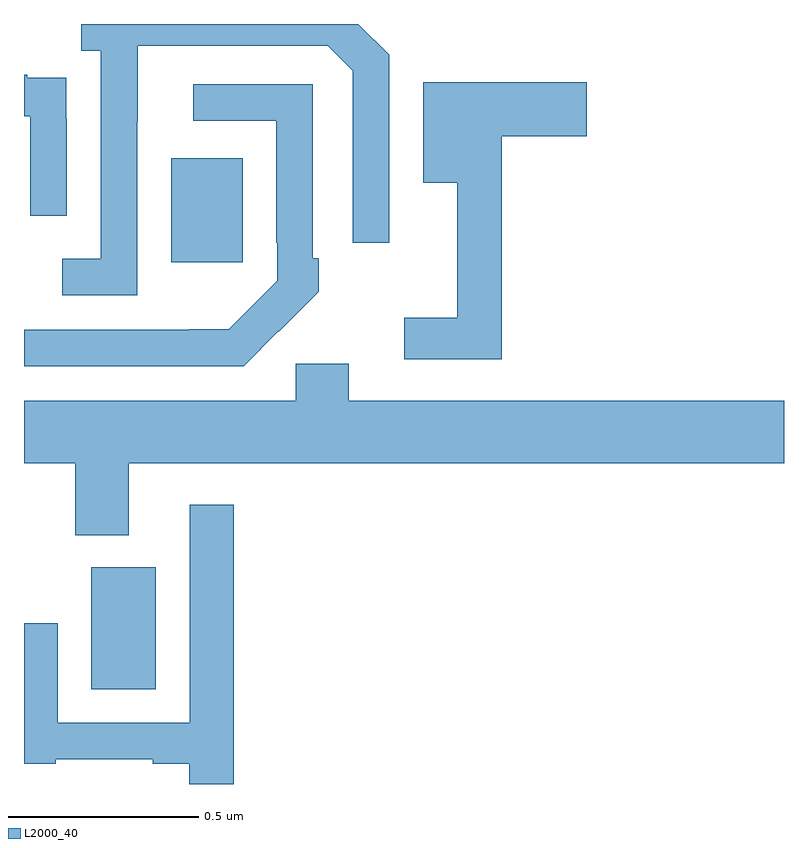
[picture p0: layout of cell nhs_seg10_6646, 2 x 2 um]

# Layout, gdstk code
import gdstk
lib = gdstk.Library(unit=1e-6, precision=1e-09)
def R(c, l, rs):  # rectangles x0, y0, x1, y1
    for r in rs: c.add(gdstk.rectangle(r[:2], r[2:], *l))
def P(c, l, *ps):  # polygons
    for p in ps: c.add(gdstk.Polygon(p, *l))
L2000_40 = (2000, 40)

nhs_seg10_6646 = lib.new_cell('nhs_seg10_6646')
R(nhs_seg10_6646, L2000_40, [(194.177,1271.75,194.347,1272.07), (194.387,1272.873,194.575,1273.147)])
P(nhs_seg10_6646, L2000_40, [(194.298,1273.243),(194.299,1273.243),(194.299,1273.443),(194.799,1273.443),(194.865,1273.377),(194.865,1272.924),(194.961,1272.924),(194.961,1273.419),(194.88,1273.5),(194.151,1273.5),(194.151,1273.43),(194.202,1273.43),(194.202,1272.882),(194.1,1272.882),(194.1,1272.786),(194.298,1272.786)],
  [(194.112,1273.25),(194.111,1273.25),(194.111,1273.359),(194.009,1273.359),(194.009,1273.366),(194,1273.366),(194,1273.257),(194.016,1273.257),(194.016,1272.996),(194.112,1272.996)],
  [(195.257,1273.205),(195.481,1273.205),(195.481,1273.347),(195.05,1273.347),(195.05,1273.082),(195.14,1273.082),(195.14,1272.727),(195,1272.727),(195,1272.618),(195.257,1272.618)],
  [(194.669,1272.691),(194.67,1272.69),(194.775,1272.795),(194.775,1272.883),(194.76,1272.883),(194.76,1273.341),(194.445,1273.341),(194.445,1273.245),(194.664,1273.245),(194.664,1272.925),(194.667,1272.925),(194.667,1272.825),(194.539,1272.697),(194.435,1272.697),(194.435,1272.696),(194,1272.696),(194,1272.6),(194.578,1272.6)],
  [(194.275,1272.344),(196,1272.344),(196,1272.508),(194.854,1272.508),(194.854,1272.606),(194.715,1272.606),(194.715,1272.508),(194,1272.508),(194,1272.344),(194.135,1272.344),(194.135,1272.155),(194.275,1272.155)],
  [(194.552,1272.235),(194.436,1272.235),(194.436,1271.661),(194.089,1271.661),(194.089,1271.923),(194,1271.923),(194,1271.553),(194.083,1271.553),(194.083,1271.565),(194.339,1271.565),(194.339,1271.553),(194.435,1271.553),(194.435,1271.5),(194.552,1271.5)])

lib.write_gds('nhs_seg10_6646.gds')
